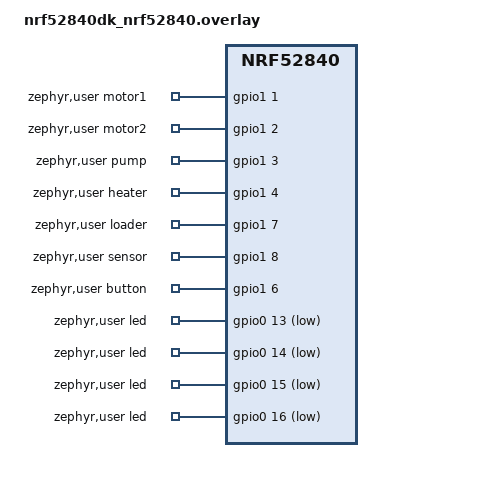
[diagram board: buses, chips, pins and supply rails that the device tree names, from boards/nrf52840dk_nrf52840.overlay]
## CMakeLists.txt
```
#
# SPDX-License-Identifier: Apache-2.0
#
cmake_minimum_required(VERSION 3.20.0)

find_package(Zephyr REQUIRED HINTS $ENV{ZEPHYR_BASE})
project(fuel_mixer)

target_sources(app PRIVATE
  src/main.c
  src/parameters.c
  src/app_params.c
  src/param_service.c
  src/io.c
  src/logic.c
)

# Parameter description JSON: validated, minified and embedded into the firmware.
set(gen_dir ${ZEPHYR_BINARY_DIR}/include/generated)
set(params_desc_src ${CMAKE_CURRENT_SOURCE_DIR}/src/params_desc.json)
set(params_desc_min ${gen_dir}/params_desc.min.json)
set(params_desc_hdr ${gen_dir}/params_desc_gen.h)

add_custom_command(
  OUTPUT ${params_desc_min} ${params_desc_hdr}
  COMMAND ${PYTHON_EXECUTABLE} ${CMAKE_CURRENT_SOURCE_DIR}/scripts/gen_params_desc.py
          --input ${params_desc_src}
          --output-json ${params_desc_min}
          --output-header ${params_desc_hdr}
  DEPENDS ${params_desc_src} ${CMAKE_CURRENT_SOURCE_DIR}/scripts/gen_params_desc.py
  COMMENT "Generating parameter description"
)
add_custom_target(params_desc_gen DEPENDS ${params_desc_min} ${params_desc_hdr})
add_dependencies(app params_desc_gen)

generate_inc_file_for_target(app ${params_desc_min} ${gen_dir}/params_desc.json.inc)
```

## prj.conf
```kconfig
#
# SPDX-License-Identifier: Apache-2.0
#

# Logging over UART (VCOM0 on PCA10056)
CONFIG_LOG=y
CONFIG_LOG_BACKEND_UART=y
CONFIG_LOG_DEFAULT_LEVEL=3
CONFIG_LOG_BUFFER_SIZE=4096
CONFIG_CONSOLE=y
CONFIG_UART_CONSOLE=y

# GPIO
CONFIG_GPIO=y

# Bluetooth LE peripheral
CONFIG_BT=y
CONFIG_BT_PERIPHERAL=y
CONFIG_BT_DEVICE_NAME="Fuel Mixer"
CONFIG_BT_MAX_CONN=1

# Persistent storage of parameters (settings on NVS)
CONFIG_FLASH=y
CONFIG_FLASH_MAP=y
CONFIG_NVS=y
CONFIG_SETTINGS=y
CONFIG_SETTINGS_NVS=y

# Stack sizes
CONFIG_MAIN_STACK_SIZE=2048
CONFIG_SYSTEM_WORKQUEUE_STACK_SIZE=2048
CONFIG_BT_RX_STACK_SIZE=2048

# Larger ATT MTU and LL data length, so description fragments fit into a single packet
CONFIG_BT_L2CAP_TX_MTU=247
CONFIG_BT_BUF_ACL_RX_SIZE=251
CONFIG_BT_BUF_ACL_TX_SIZE=251
CONFIG_BT_CTLR_DATA_LENGTH_MAX=251
```

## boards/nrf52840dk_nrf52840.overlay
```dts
/*
 * SPDX-License-Identifier: Apache-2.0
 *
 * Application GPIOs for nRF52840 DK (PCA10056).
 */

#include <zephyr/dt-bindings/gpio/gpio.h>

/ {
	zephyr,user {
		/* Outputs. */
		motor1-gpios = <&gpio1 1 GPIO_ACTIVE_HIGH>;
		motor2-gpios = <&gpio1 2 GPIO_ACTIVE_HIGH>;
		pump-gpios = <&gpio1 3 GPIO_ACTIVE_HIGH>;
		heater-gpios = <&gpio1 4 GPIO_ACTIVE_HIGH>;

		/* Inputs. */
		loader-gpios = <&gpio1 7 (GPIO_ACTIVE_HIGH | GPIO_PULL_UP)>;
		sensor-gpios = <&gpio1 8 (GPIO_ACTIVE_HIGH | GPIO_PULL_UP)>;
		button-gpios = <&gpio1 6 (GPIO_ACTIVE_HIGH | GPIO_PULL_UP)>;

		/* LED1..LED4 on P0.13..P0.16 (active low) mirror Motor 1, Motor 2, Pump, Heater. */
		led-gpios = <&gpio0 13 GPIO_ACTIVE_LOW>,
			    <&gpio0 14 GPIO_ACTIVE_LOW>,
			    <&gpio0 15 GPIO_ACTIVE_LOW>,
			    <&gpio0 16 GPIO_ACTIVE_LOW>;
	};
};
```

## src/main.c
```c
/*
 * SPDX-License-Identifier: Apache-2.0
 *
 * Fuel Mixer: BLE peripheral exposing a table of parameters over a custom GATT service.
 */

#include <zephyr/bluetooth/bluetooth.h>
#include <zephyr/bluetooth/conn.h>
#include <zephyr/bluetooth/hci.h>
#include <zephyr/kernel.h>
#include <zephyr/logging/log.h>

#include "io.h"
#include "logic.h"
#include "param_service.h"
#include "parameters.h"

LOG_MODULE_REGISTER(main, LOG_LEVEL_DBG);

#define WORKER_STACK_SIZE 1024
#define WORKER_PRIORITY   5

static void worker_thread(void *p1, void *p2, void *p3);

K_THREAD_DEFINE(worker_tid, WORKER_STACK_SIZE, worker_thread, NULL, NULL, NULL, WORKER_PRIORITY,
		0, SYS_FOREVER_MS);

#define DEVICE_NAME     CONFIG_BT_DEVICE_NAME
#define DEVICE_NAME_LEN (sizeof(DEVICE_NAME) - 1)

static const struct bt_data ad[] = {
	BT_DATA_BYTES(BT_DATA_FLAGS, (BT_LE_AD_GENERAL | BT_LE_AD_NO_BREDR)),
	BT_DATA(BT_DATA_NAME_COMPLETE, DEVICE_NAME, DEVICE_NAME_LEN),
};

static const struct bt_data sd[] = {
	BT_DATA_BYTES(BT_DATA_UUID128_ALL, BT_UUID_PARAM_SVC_VAL),
};

static void adv_work_handler(struct k_work *work)
{
	int err = bt_le_adv_start(BT_LE_ADV_CONN_FAST_2, ad, ARRAY_SIZE(ad), sd, ARRAY_SIZE(sd));

	if (err) {
		LOG_ERR("Advertising failed to start (%d)", err);
		return;
	}

	LOG_INF("Advertising started");
}

static K_WORK_DEFINE(adv_work, adv_work_handler);

static void connected(struct bt_conn *conn, uint8_t err)
{
	char addr[BT_ADDR_LE_STR_LEN];

	if (err) {
		LOG_WRN("Connection failed, err 0x%02x %s", err, bt_hci_err_to_str(err));
		return;
	}

	bt_addr_le_to_str(bt_conn_get_dst(conn), addr, sizeof(addr));
	LOG_INF("Connected: %s", addr);
}

static void disconnected(struct bt_conn *conn, uint8_t reason)
{
	LOG_INF("Disconnected, reason 0x%02x %s", reason, bt_hci_err_to_str(reason));
}

static void recycled(void)
{
	k_work_submit(&adv_work);
}

BT_CONN_CB_DEFINE(conn_callbacks) = {
	.connected = connected,
	.disconnected = disconnected,
	.recycled = recycled,
};

static void worker_thread(void *p1, void *p2, void *p3)
{
	ARG_UNUSED(p1);
	ARG_UNUSED(p2);
	ARG_UNUSED(p3);

	k_sleep(K_MSEC(1000));

	while (true) {
		procesuj(k_uptime_get());
		k_sleep(K_MSEC(TIME_TO_MS(1)));
	}
}

void logic_start(void)
{
	k_thread_start(worker_tid);
}

int main(void)
{
	int err;

	LOG_INF("Fuel Mixer application starting");

	err = io_init();
	if (err) {
		LOG_ERR("GPIO init failed (%d)", err);
		return err;
	}

	err = params_init();
	if (err) {
		LOG_ERR("Parameters init failed (%d)", err);
		return err;
	}

	logic_start();

	err = bt_enable(NULL);
	if (err) {
		LOG_ERR("Bluetooth init failed (%d)", err);
		return err;
	}

	LOG_INF("Bluetooth initialized");

	k_work_submit(&adv_work);

	return 0;
}
```

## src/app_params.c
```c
/*
 * SPDX-License-Identifier: Apache-2.0
 *
 * Application parameter table.
 */

#include <zephyr/kernel.h>

#include "app_params.h"
#include "logic.h"
#include "parameters.h"

/* Keep the "next read" index within the table (also for negative values). */
static void next_read_write_cb(struct parameter *param, int32_t old_value)
{
	const int32_t count = (int32_t)params_count;

	ARG_UNUSED(old_value);

	param->value = ((param->value % count) + count) % count;
}

struct parameter params_table[] = {
	[PARAM_NEXT_READ] = {
		.initial_value = 0,
		.persistent = false,
		.write_callback = next_read_write_cb,
	},
	[PARAM_STAN_ZBIORNIKA_1] = {
		.initial_value = 100,
		.persistent = true,
	},
	[PARAM_STAN_ZBIORNIKA_2] = {
		.initial_value = 100,
		.persistent = true,
	},
	[PARAM_MINIMALNY_CZAS_PRACY] = {
		.initial_value = 2 * 60,
		.persistent = true,
	},
	[PARAM_PROPORCJA_ROZPALKI] = {
		.initial_value = 100,
		.persistent = true,
	},
	[PARAM_PROPORCJA_PALIWA_1] = {
		.initial_value = 30,
		.persistent = true,
	},
	[PARAM_PROPORCJA_PALIWA_2] = {
		.initial_value = 70,
		.persistent = true,
	},
	[PARAM_PREDKOSC_OPROZNIANIA_ZBIORNIKA_1] = {
		.initial_value = 10,
		.persistent = true,
	},
	[PARAM_PREDKOSC_OPROZNIANIA_ZBIORNIKA_2] = {
		.initial_value = 10,
		.persistent = true,
	},
	[PARAM_CZAS_ROZPALANIA] = {
		.initial_value = 15,
		.persistent = true,
	},
	[PARAM_CZAS_WYKRYCIA_NASYPU_ROZPALKI] = {
		.initial_value = 15,
		.persistent = true,
	},
	[PARAM_CZAS_WYKRYCIA_WYGASZENIA] = {
		.initial_value = 5,
		.persistent = true,
	},
	[PARAM_MAKSYMALNY_CZAS_PRZEDLUZENIA_SYGNALU] = {
		.initial_value = 5,
		.persistent = true,
	},
	[PARAM_CZAS_PRACY_POMPY] = {
		.initial_value = 45,
		.persistent = true,
	},
	[PARAM_WYMUSZONA_PRACA] = {
		.initial_value = 0,
		.persistent = false,
		.write_callback = param_write_wymuszona_praca,
	},
	[PARAM_PODGLAD_STANU] = {
		.initial_value = 0,
		.persistent = false,
	},
};

BUILD_ASSERT(ARRAY_SIZE(params_table) == PARAM_COUNT);

const size_t params_count = ARRAY_SIZE(params_table);
```

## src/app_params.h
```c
/*
 * SPDX-License-Identifier: Apache-2.0
 */

#ifndef APP_PARAMS_H_
#define APP_PARAMS_H_

/*_Parameter_IDs_(indexes_in_params_table)._*/
enum app_param_id {

	/* Next read index */
	PARAM_NEXT_READ = 0,
	/* Stan zbiornika 1 */
	PARAM_STAN_ZBIORNIKA_1 = 1,
	/* Stan zbiornika 2 */
	PARAM_STAN_ZBIORNIKA_2 = 2,
	/* Minimalny czas pracy */
	PARAM_MINIMALNY_CZAS_PRACY = 3,
	/* Proporcja rozpałki (czystego paliwa 1) */
	PARAM_PROPORCJA_ROZPALKI = 4,
	/* Proporcja paliwa 1 */
	PARAM_PROPORCJA_PALIWA_1 = 5,
	/* Proporcja paliwa 2 */
	PARAM_PROPORCJA_PALIWA_2 = 6,
	/* Prędkość opróżniania zbiornika 1 */
	PARAM_PREDKOSC_OPROZNIANIA_ZBIORNIKA_1 = 7,
	/* Prędkość opróżniania zbiornika 2 */
	PARAM_PREDKOSC_OPROZNIANIA_ZBIORNIKA_2 = 8,
	/* Czas rozpalania (czystym paliwem 1) */
	PARAM_CZAS_ROZPALANIA = 9,
	/* Czas wykrycia nasypu rozpałki */
	PARAM_CZAS_WYKRYCIA_NASYPU_ROZPALKI = 10,
	/* Czas wykrycia wygaszenia */
	PARAM_CZAS_WYKRYCIA_WYGASZENIA = 11,
	/* Maksymalny czas przedłużenia sygnału */
	PARAM_MAKSYMALNY_CZAS_PRZEDLUZENIA_SYGNALU = 12,
	/* Czas pracy pompy */
	PARAM_CZAS_PRACY_POMPY = 13,
	/* Wymuszona praca */
	PARAM_WYMUSZONA_PRACA = 14,
	/* Podgląd stanu */
	PARAM_PODGLAD_STANU = 15,

	PARAM_COUNT
};

#endif /* APP_PARAMS_H_ */
```

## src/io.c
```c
/*
 * SPDX-License-Identifier: Apache-2.0
 */

#include <zephyr/drivers/gpio.h>
#include <zephyr/logging/log.h>
#include <zephyr/sys/atomic.h>

#include "io.h"

LOG_MODULE_REGISTER(io, LOG_LEVEL_DBG);

#define USER_NODE DT_PATH(zephyr_user)

struct io_pin {
	const char *name;
	enum io_input mask;
	struct gpio_dt_spec gpio;
	struct gpio_callback callback;
};

#define IO_PIN(_name, prop) {.name = _name, .gpio = GPIO_DT_SPEC_GET(USER_NODE, prop)}
#define IO_INPUT_PIN(_name, _mask, prop) \
	{.name = _name, .mask = _mask, .gpio = GPIO_DT_SPEC_GET(USER_NODE, prop)}

static const struct io_pin outputs[] = {
	[IO_MOTOR_1] = IO_PIN("Motor 1", motor1_gpios),
	[IO_MOTOR_2] = IO_PIN("Motor 2", motor2_gpios),
	[IO_PUMP] = IO_PIN("Pump", pump_gpios),
	[IO_HEATER] = IO_PIN("Heater", heater_gpios),
};

static struct io_pin inputs[] = {
	IO_INPUT_PIN("Loader", IO_LOADER, loader_gpios),
	IO_INPUT_PIN("Sensor", IO_SENSOR, sensor_gpios),
	IO_INPUT_PIN("Button", IO_BUTTON, button_gpios),
};

/* leds[i] mirrors outputs[i]. */
static const struct gpio_dt_spec leds[] = {
	DT_FOREACH_PROP_ELEM_SEP(USER_NODE, led_gpios, GPIO_DT_SPEC_GET_BY_IDX, (,))
};

BUILD_ASSERT(ARRAY_SIZE(outputs) == IO_OUTPUT_COUNT);
BUILD_ASSERT(ARRAY_SIZE(inputs) == IO_INPUT_COUNT);
BUILD_ASSERT(DT_PROP_LEN(USER_NODE, led_gpios) == IO_OUTPUT_COUNT);

static atomic_t output_state;
static atomic_t input_events;

static void input_gpio_callback(const struct device *port, struct gpio_callback *callback,
				gpio_port_pins_t pins)
{
	ARG_UNUSED(port);
	ARG_UNUSED(pins);

	for (size_t i = 0; i < IO_INPUT_COUNT; i++) {
		if (callback == &inputs[i].callback) {
			atomic_set_bit(&input_events, i);
			return;
		}
	}
}

static int configure(const struct gpio_dt_spec *spec, gpio_flags_t flags)
{
	int err;

	if (!gpio_is_ready_dt(spec)) {
		LOG_ERR("GPIO %s not ready", spec->port->name);
		return -ENODEV;
	}

	err = gpio_pin_configure_dt(spec, flags);
	if (err) {
		LOG_ERR("Failed to configure %s pin %u (%d)", spec->port->name, spec->pin, err);
	}

	return err;
}

int io_init(void)
{
	int err;

	for (size_t i = 0; i < IO_OUTPUT_COUNT; i++) {
		err = configure(&outputs[i].gpio, GPIO_OUTPUT_INACTIVE);
		if (err) {
			return err;
		}

		err = configure(&leds[i], GPIO_OUTPUT_INACTIVE);
		if (err) {
			return err;
		}
	}

	for (size_t i = 0; i < IO_INPUT_COUNT; i++) {
		err = configure(&inputs[i].gpio, GPIO_INPUT);
		if (err) {
			return err;
		}
	}

	for (size_t i = 0; i < IO_INPUT_COUNT; i++) {
		gpio_init_callback(&inputs[i].callback, input_gpio_callback,
				   BIT(inputs[i].gpio.pin));

		err = gpio_add_callback(inputs[i].gpio.port, &inputs[i].callback);
		if (err) {
			LOG_ERR("%s: failed to add GPIO callback (%d)", inputs[i].name, err);
			return err;
		}

		err = gpio_pin_interrupt_configure_dt(&inputs[i].gpio, GPIO_INT_EDGE_FALLING);
		if (err) {
			LOG_ERR("%s: failed to configure falling-edge interrupt (%d)",
				inputs[i].name, err);
			return err;
		}
	}

	return 0;
}

int io_set_output(enum io_output output, bool on)
{
	int err;

	if (output >= IO_OUTPUT_COUNT) {
		return -EINVAL;
	}

	err = gpio_pin_set_dt(&outputs[output].gpio, !on);
	if (err) {
		LOG_ERR("%s: set failed (%d)", outputs[output].name, err);
		return err;
	}

	(void)gpio_pin_set_dt(&leds[output], on);

	if (atomic_test_bit(&output_state, output) != on) {
		atomic_set_bit_to(&output_state, output, on);
		LOG_INF("%s: %s", outputs[output].name, on ? "ON" : "OFF");
	}

	return 0;
}

bool io_get_output(enum io_output output)
{
	return output < IO_OUTPUT_COUNT && atomic_test_bit(&output_state, output);
}

uint32_t io_sample_input(void)
{
	uint32_t active_inputs = 0;

	for (size_t i = 0; i < IO_INPUT_COUNT; i++) {
		bool falling_edge = atomic_test_and_clear_bit(&input_events, i);
		int level = gpio_pin_get_raw(inputs[i].gpio.port, inputs[i].gpio.pin);

		if (level < 0) {
			LOG_ERR("%s: failed to read GPIO (%d)", inputs[i].name, level);
			continue;
		}

		if (level == 0) {
			active_inputs |= inputs[i].mask;
			continue;
		}

		if (falling_edge) {
			active_inputs |= inputs[i].mask;
		}
	}

	return active_inputs;
}

const char *io_output_name(enum io_output output)
{
	return output < IO_OUTPUT_COUNT ? outputs[output].name : "?";
}

const char *io_input_name(enum io_input input)
{
	switch (input) {
	case IO_LOADER:
		return inputs[0].name;
	case IO_SENSOR:
		return inputs[1].name;
	case IO_BUTTON:
		return inputs[2].name;
	default:
		return "?";
	}
}
```

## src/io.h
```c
/*
 * SPDX-License-Identifier: Apache-2.0
 */

#ifndef IO_H_
#define IO_H_

#include <stdbool.h>
#include <stdint.h>

/* Outputs; each one is mirrored to an LED (LED1..LED4). */
enum io_output {
	IO_MOTOR_1, /* P1.01, LED1 */
	IO_MOTOR_2, /* P1.02, LED2 */
	IO_PUMP,    /* P1.03, LED3 */
	IO_HEATER,  /* P1.04, LED4 */

	IO_OUTPUT_COUNT
};

/* Active-low inputs (with pull-up); values are masks for io_sample_input(). */
enum io_input {
	IO_LOADER = 1U << 0, /* P1.07 */
	IO_SENSOR = 1U << 1, /* P1.08 */
	IO_BUTTON = 1U << 2, /* P1.06 */

	IO_INPUT_COUNT = 3
};

/* Configure output, input and LED GPIOs. All outputs start off. */
int io_init(void);

/* Switch the output (and its LED) on or off. Changes are logged. */
int io_set_output(enum io_output output, bool on);

/* Last state set by io_set_output(). */
bool io_get_output(enum io_output output);

/* Sample all inputs; a low level or falling edge since the last sample is active. */
uint32_t io_sample_input(void);

/* User-friendly names, e.g. "Motor 1"; "?" for an invalid ID. */
const char *io_output_name(enum io_output output);
const char *io_input_name(enum io_input input);

#endif /* IO_H_ */
```

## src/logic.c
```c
/*
 * SPDX-License-Identifier: Apache-2.0
 *
 * Application logic: worker thread and parameter callbacks.
 *
 * Available resources:
 *  - GPIO (io.h): io_set_output(IO_MOTOR_1/IO_MOTOR_2/IO_PUMP/IO_HEATER, on),
 *    io_sample_input(), io_get_output().
 *  - Parameters (parameters.h, app_params.h): params_get()/params_set() by PARAM_* ID.
 */

#include <zephyr/kernel.h>
#include <zephyr/logging/log.h>

#include "app_params.h"
#include "io.h"
#include "logic.h"
#include "parameters.h"

LOG_MODULE_REGISTER(logic, LOG_LEVEL_DBG);

/** @file logic.c
 *
 * Implementacja logiki sterowania podajnikami dwóch paliw na podstawie sygnału sterującego
 * podajnika pojedynczego.
 *
 * Sterownik wpięty jest za piecem, który obsługuje tylko jedno paliwo.
 * Piec podaje sygnał sterujący do jednego podajnika, a nasz sterownik rozdziela go
 * na dwa podajniki paliwa dając możliwość mieszania dwóch rodzajów paliwa.
 *
 * W początkowym etapie rozpalania pieca, tylko paliwo 1 jest podawane do pieca.
 * Może ono być podawane w innej proporcji niż to żąda piec ze względu na inną wydajność
 * podajnika paliwa 1 niż znamionowa wydajność, którą spodziewa się piec.
 * Następnie, podczas normalnej pracy, nasz sterownik reguluje proporcje podawania
 * paliwa 1 i 2 zgodnie z ustawionymi parametrami.
 *
 * Nasz sterownik odpowiada za optymalizację pracy pompy rozprowadzającej ciepło w instalacji.
 * Pompa ma zacząć pracować jak tylko zostanie wykryty sygnał wejściowy z podajnika.
 * Powinna wyłączyć się po określonym (w parametrze) czasie od ostatniej aktywności podajnika.
 */


#define STAN_INPUT_SENSOR (1 << 0)
#define STAN_INPUT_PODAJNIK (1 << 1)
#define STAN_INPUT_BUTTON (1 << 2)

#define STAN_OUTPUT_PODAJNIK_1 (1 << 3)
#define STAN_OUTPUT_PODAJNIK_2 (1 << 4)
#define STAN_OUTPUT_POMPA (1 << 5)
#define STAN_OUTPUT_NAGRZEWANIE (1 << 6)

#define STAN_POMPA_PODAJNIK (1 << 7)
#define STAN_POMPA_PRZEDLUZENIE (1 << 8)
#define STAN_POMPA_WYLACZONA (1 << 9)
#define STAN_POMPA (STAN_POMPA_PODAJNIK | STAN_POMPA_PRZEDLUZENIE | STAN_POMPA_WYLACZONA)

#define STAN_PODAJNIK_OCZEKIWANIE (1 << 10)
#define STAN_PODAJNIK_NASYP_ROZPALKI (1 << 11)
#define STAN_PODAJNIK_ROZPALANIE_TRWA (1 << 12)
#define STAN_PODAJNIK_PRACA_TRWA (1 << 13)
#define STAN_PODAJNIK (STAN_PODAJNIK_OCZEKIWANIE | STAN_PODAJNIK_NASYP_ROZPALKI | STAN_PODAJNIK_ROZPALANIE_TRWA | STAN_PODAJNIK_PRACA_TRWA)

#define STAN_DAWKOMIERZ_1_OCZEKIWANIE (1 << 14)
#define STAN_DAWKOMIERZ_1_PRZEKAZANIE_W_CALOSCI (1 << 15)
#define STAN_DAWKOMIERZ_1_POSZERZENIE_SYGNALU (1 << 16)
#define STAN_DAWKOMIERZ_1_PRZEKAZANIE_W_CZESCI (1 << 17)
#define STAN_DAWKOMIERZ_1_BLOKOWANIE_SYGNALU (1 << 18)
#define STAN_DAWKOMIERZ_1 (STAN_DAWKOMIERZ_1_OCZEKIWANIE | STAN_DAWKOMIERZ_1_PRZEKAZANIE_W_CALOSCI | STAN_DAWKOMIERZ_1_POSZERZENIE_SYGNALU | STAN_DAWKOMIERZ_1_PRZEKAZANIE_W_CZESCI | STAN_DAWKOMIERZ_1_BLOKOWANIE_SYGNALU)

#define STAN_DAWKOMIERZ_2_OCZEKIWANIE (1 << 19)
#define STAN_DAWKOMIERZ_2_PRZEKAZANIE_W_CALOSCI (1 << 20)
#define STAN_DAWKOMIERZ_2_POSZERZENIE_SYGNALU (1 << 21)
#define STAN_DAWKOMIERZ_2_PRZEKAZANIE_W_CZESCI (1 << 22)
#define STAN_DAWKOMIERZ_2_BLOKOWANIE_SYGNALU (1 << 23)
#define STAN_DAWKOMIERZ_2 (STAN_DAWKOMIERZ_2_OCZEKIWANIE | STAN_DAWKOMIERZ_2_PRZEKAZANIE_W_CALOSCI | STAN_DAWKOMIERZ_2_POSZERZENIE_SYGNALU | STAN_DAWKOMIERZ_2_PRZEKAZANIE_W_CZESCI | STAN_DAWKOMIERZ_2_BLOKOWANIE_SYGNALU)


static int podglad_stanu = 0;
static int now = 0;
static int param_minimalny_czas_pracy;
static int param_proporcja_rozpalki;
static int param_proporcja_paliwa_1;
static int param_proporcja_paliwa_2;
static int param_predkosc_oprozniania_zbiornika_1;
static int param_predkosc_oprozniania_zbiornika_2;
static int param_czas_rozpalania;
static int param_czas_wykrycia_nasypu_rozpalki;
static int param_czas_wykrycia_wygaszenia;
static int param_maksymalny_czas_przedluzenia_sygnalu;
static int param_czas_pracy_pompy;
static bool input_sensor;
static bool input_podajnik;
static bool input_button;
static bool output_podajnik_1;
static bool output_podajnik_2;
static bool output_pompa;
static bool output_nagrzewanie;

//--------------------------------------------------------------
#pragma region Start Procesowania


static void stan_grupy(int grupa, int stan_mask)
{
	podglad_stanu = (podglad_stanu & ~(grupa)) | (stan_mask);
}


static void stan_grupy_offset(int offset, int grupa, int stan_mask)
{
	grupa *= offset;
	stan_mask *= offset;
	podglad_stanu = (podglad_stanu & ~(grupa)) | (stan_mask);
}


static void stan(int stan_mask, bool on)
{
	if (on) {
		podglad_stanu |= stan_mask;
	} else {
		podglad_stanu &= ~stan_mask;
	}
}


static void start_procesowania(int64_t aktualny_czas_ms)
{
	uint32_t inputs_mask = io_sample_input();

	now = (int32_t)TIME_FROM_MS(aktualny_czas_ms);
	param_minimalny_czas_pracy = TIME_FROM_MIN(params_get(PARAM_MINIMALNY_CZAS_PRACY));
	param_proporcja_rozpalki = params_get(PARAM_PROPORCJA_ROZPALKI);
	param_proporcja_paliwa_1 = params_get(PARAM_PROPORCJA_PALIWA_1);
	param_proporcja_paliwa_2 = params_get(PARAM_PROPORCJA_PALIWA_2);
	param_predkosc_oprozniania_zbiornika_1 = params_get(PARAM_PREDKOSC_OPROZNIANIA_ZBIORNIKA_1);
	param_predkosc_oprozniania_zbiornika_2 = params_get(PARAM_PREDKOSC_OPROZNIANIA_ZBIORNIKA_2);
	param_czas_rozpalania = TIME_FROM_MIN(params_get(PARAM_CZAS_ROZPALANIA));
	param_czas_wykrycia_nasypu_rozpalki = TIME_FROM_SEC(params_get(PARAM_CZAS_WYKRYCIA_NASYPU_ROZPALKI));
	param_czas_wykrycia_wygaszenia = TIME_FROM_MIN(params_get(PARAM_CZAS_WYKRYCIA_WYGASZENIA));
	param_maksymalny_czas_przedluzenia_sygnalu = TIME_FROM_SEC(params_get(PARAM_MAKSYMALNY_CZAS_PRZEDLUZENIA_SYGNALU));
	param_czas_pracy_pompy = TIME_FROM_MIN(params_get(PARAM_CZAS_PRACY_POMPY));
	input_sensor = (inputs_mask & IO_SENSOR) != 0;
	input_podajnik = (inputs_mask & IO_LOADER) != 0;
	input_button = (inputs_mask & IO_BUTTON) != 0;
	stan(STAN_INPUT_SENSOR, input_sensor);
	stan(STAN_INPUT_PODAJNIK, input_podajnik);
	stan(STAN_INPUT_BUTTON, input_button);
}


static void output(enum io_output id, bool on)
{
	switch (id) {
		case IO_MOTOR_1:
			output_podajnik_1 = on;
			stan(STAN_OUTPUT_PODAJNIK_1, on);
			break;
		case IO_MOTOR_2:
			output_podajnik_2 = on;
			stan(STAN_OUTPUT_PODAJNIK_2, on);
			break;
		case IO_PUMP:
			output_pompa = on;
			stan(STAN_OUTPUT_POMPA, on);
			break;
		case IO_HEATER:
			output_nagrzewanie = on;
			stan(STAN_OUTPUT_NAGRZEWANIE, on);
			break;
		default:
			break;
	}
}


#pragma endregion
//--------------------------------------------------------------


//--------------------------------------------------------------
#pragma region Stan zbiornikow


static void aktualizuj_stan_zbiornika(int predkosc_oprozniania, bool podajnik_aktywny,
				      int64_t czas_pracy_ms, int64_t *skumulowany_czas_ms,
				      uint8_t parametr_stanu)
{
	int64_t ms_na_procent;
	int err;

	if (!podajnik_aktywny || predkosc_oprozniania <= 0) {
		return;
	}

	ms_na_procent = 3600000LL / predkosc_oprozniania;
	if (ms_na_procent == 0) {
		ms_na_procent = 1;
	}

	*skumulowany_czas_ms += czas_pracy_ms;
	if (*skumulowany_czas_ms < ms_na_procent) {
		return;
	}

	int stan_zbiornika = params_get(parametr_stanu);

	err = params_write(parametr_stanu, stan_zbiornika - 1);
	if (err) {
		LOG_ERR("Nie udało się zapisać stanu zbiornika (parametr %u, %d)",
			parametr_stanu, err);
		return;
	}

	*skumulowany_czas_ms -= ms_na_procent;
}


static void procesuj_stan_zbiornikow(int64_t aktualny_czas_ms)
{
	static bool zainicjalizowano_czas;
	static int64_t poprzedni_czas_ms;
	static int64_t skumulowany_czas_zbiornika_1_ms;
	static int64_t skumulowany_czas_zbiornika_2_ms;
	int64_t czas_pracy_ms = 0;

	if (zainicjalizowano_czas) {
		czas_pracy_ms = aktualny_czas_ms - poprzedni_czas_ms;
		if (czas_pracy_ms < 0) {
			czas_pracy_ms = 0;
		}
	} else {
		zainicjalizowano_czas = true;
	}
	poprzedni_czas_ms = aktualny_czas_ms;

	aktualizuj_stan_zbiornika(param_predkosc_oprozniania_zbiornika_1,
				  output_podajnik_1, czas_pracy_ms,
				  &skumulowany_czas_zbiornika_1_ms, PARAM_STAN_ZBIORNIKA_1);
	aktualizuj_stan_zbiornika(param_predkosc_oprozniania_zbiornika_2,
				  output_podajnik_2, czas_pracy_ms,
				  &skumulowany_czas_zbiornika_2_ms, PARAM_STAN_ZBIORNIKA_2);
}


#pragma endregion
//--------------------------------------------------------------


//--------------------------------------------------------------
#pragma region Sensor


static int poczatek_aktywnosci_sensora = -TIME_FROM_HOUR(24);


static void procesuj_sensor(bool wymuszenie_startu)
{
	static bool poprzedni_stan = false;
	static bool sensor_aktywny = false;

	if (!sensor_aktywny && ((input_sensor && !poprzedni_stan) || wymuszenie_startu)) {
		poczatek_aktywnosci_sensora = now;
	}
	poprzedni_stan = input_sensor;
	bool val = input_sensor || TIME_SINCE(poczatek_aktywnosci_sensora) < param_minimalny_czas_pracy;
	if (val != sensor_aktywny) {
		LOG_INF("Wyjście sensora %s", val ? "aktywne" : "nieaktywne");
	}
	sensor_aktywny = val;
	output(IO_HEATER, sensor_aktywny);
}


void param_write_wymuszona_praca(struct parameter *param, int32_t old_value)
{
	(void)(old_value);
	int x = now - param_minimalny_czas_pracy + TIME_FROM_HOUR(param->value);
	param->value = 0;
	int key = irq_lock();
	poczatek_aktywnosci_sensora = x;
	irq_unlock(key);
}


#pragma endregion
//--------------------------------------------------------------


//--------------------------------------------------------------
#pragma region Dawkomierz


struct Dawkomierz {
	void* stan;
	int poprzedni_okres;
	int czas_startu;
	int *procenty;
	int io_motor;
	int offset_grupy;
};


void dawkomierz_init(struct Dawkomierz *d, int *procenty, int io_motor, int poprzedni_okres, int offset_grupy)
{
	d->stan = NULL;
	d->poprzedni_okres = poprzedni_okres;
	d->czas_startu = -TIME_FROM_HOUR(24);
	d->procenty = procenty;
	d->io_motor = io_motor;
	d->offset_grupy = offset_grupy;
}

/** @brief Procesuje maszynę stanów dla jednego dawkomierza
 *
 * Na podstawie parametrów i sygnału wejściowego dawkuje odpowiednie proporcje
 * jednego rodzaju paliwa. Gdy więcej paliw jest mieszanych, wiele instancji
 * dawkomierza jest potrzebna.
 */
void dawkomierz_procesuj(struct Dawkomierz *d)
{
	int calkowity_czas;
	int procent = *(d->procenty);

	if (d->stan != NULL) {
		goto *d->stan;
	}

oczekiwanie: // Oczekiwanie na sygnał wejściowy

	stan_grupy_offset(d->offset_grupy, STAN_DAWKOMIERZ_1, STAN_DAWKOMIERZ_1_OCZEKIWANIE);
	output(d->io_motor, input_podajnik);

	// Jeżeli sygnał wejściowy jest aktywny, rozpoczynamy proces przekazywania sygnału do silnika
	// w całości lub części w zależności od procentu (częściowe przekazanie jest możliwe tylko jeśli
	// znamy czas poprzedniego okresu).
	if (input_podajnik) {
		d->czas_startu = now;
		if (procent >= 100 || d->poprzedni_okres == 0) {
			goto przekazanie_w_calosci;
		} else {
			goto przekazanie_w_czesci;
		}
	}

	d->stan = &&oczekiwanie;
	return;

przekazanie_w_calosci: // Przekazanie całego okresu do silnika

	stan_grupy_offset(d->offset_grupy, STAN_DAWKOMIERZ_1, STAN_DAWKOMIERZ_1_PRZEKAZANIE_W_CALOSCI);
	output(d->io_motor, true);

	// Jeżeli sygnał wejściowy przestał być aktywny, zapisujemy czas trwania okresu i przechodzimy do poszerzenia sygnału.
	if (!input_podajnik) {
		d->poprzedni_okres = TIME_SINCE(d->czas_startu);
		goto poszerzenie_sygnalu;
	}

	d->stan = &&przekazanie_w_calosci;
	return;

poszerzenie_sygnalu: // Poszerzenie sygnału wyjściowego o określony procent

	stan_grupy_offset(d->offset_grupy, STAN_DAWKOMIERZ_1, STAN_DAWKOMIERZ_1_POSZERZENIE_SYGNALU);
	output(d->io_motor, true);

	// Całkowity czas pracy silnika obliczony jest na podstawie okresu i zadanych procentów.
	calkowity_czas = (d->poprzedni_okres * procent + 50) / 100;
	if (calkowity_czas > d->poprzedni_okres + param_maksymalny_czas_przedluzenia_sygnalu) {
		calkowity_czas = d->poprzedni_okres + param_maksymalny_czas_przedluzenia_sygnalu;
	}

	// Jeżeli obliczy czas pracy silnika został osiągnięty, wracamy do oczekiwania.
	// Jeżeli sygnał wejściowy jest ponownie aktywny, też wracamy do oczekiwania, a stamtąd od razu
	// do kolejnego stanu.
	if (TIME_SINCE(d->czas_startu) > calkowity_czas || input_podajnik) {
		goto oczekiwanie;
	}

	d->stan = &&poszerzenie_sygnalu;
	return;

przekazanie_w_czesci: // Przekazanie początkowej części okresu sygnału do silnika

	stan_grupy_offset(d->offset_grupy, STAN_DAWKOMIERZ_1, STAN_DAWKOMIERZ_1_PRZEKAZANIE_W_CZESCI);
	output(d->io_motor, true);

	// Jeżeli sygnał przestał być aktywny za wcześnie, zapisujemy czas trwania okresu i wracamy do oczekiwania.
	if (!input_podajnik) {
		d->poprzedni_okres = TIME_SINCE(d->czas_startu);
		goto oczekiwanie;
	}

	// Całkowity czas pracy silnika obliczony jest na podstawie poprzedniego okresu i zadanych procentów.
	calkowity_czas = (d->poprzedni_okres * procent + 50) / 100;

	// Jak już osiągniemy obliczony czas i sygnał jest nadal aktywny, przechodzimy do jego blokowania.
	if (TIME_SINCE(d->czas_startu) > calkowity_czas) {
		goto blokowanie_sygnalu;
	}

	d->stan = &&przekazanie_w_czesci;
	return;

blokowanie_sygnalu: // Blokowanie sygnału wyjściowego do silnika po tym jak już część okresu została przekazana

	stan_grupy_offset(d->offset_grupy, STAN_DAWKOMIERZ_1, STAN_DAWKOMIERZ_1_BLOKOWANIE_SYGNALU);
	output(d->io_motor, false);

	// Jeżeli sygnał wejściowy przestał być aktywny, zapisujemy czas trwania okresu i wracamy do oczekiwania.
	if (!input_podajnik) {
		d->poprzedni_okres = TIME_SINCE(d->czas_startu);
		goto oczekiwanie;
	}

	// Obliczamy dopuszczalny czas blokady, który stanowi 3/2 poprzedniego okresu.
	calkowity_czas = (d->poprzedni_okres * 3 + 1) / 2;

	// Jeżeli zbyt długo blokujemy, przechodzimy do przekazania sygnału w całości.
	if (TIME_SINCE(d->czas_startu) > calkowity_czas) {
		goto przekazanie_w_calosci;
	}

	d->stan = &&blokowanie_sygnalu;
	return;
}


#pragma endregion
//--------------------------------------------------------------


//--------------------------------------------------------------
#pragma region Podajniki


/** @brief Główna maszyna stanów obsługująca podajnik i proces rozpalania.
 *
 * Słucha sygnału wejściowego z podajnika i wystawia sygnały sterujące dla podajników paliwa 1 i 2.
 *
 * Maszyna wykrywa nasyp rozpałki i wygaszenie podajnika i natychmiast przechodzi do odpowiedniego stanu.
 *
 * W stanie oczekiwania maszyna nic nie robi, czeka na aktywność podajnika.
 * W przypadku aktywności podajnika lub wykrycia nasypu rozpalki maszyna przechodzi do stanu nasyp_rozpalki,
 * gdzie przekazuje dalej sygnał do silnika paliwa 1. Po zakończeniu nasypu rozpałki maszyna przechodzi
 * do stanu rozpalania, gdzie następuje proces rozpalania pieca używając tylko paliwa 1 w ustalonym
 * parametrami stosunku do sygnału wejściowego. To trwa do momentu osiągnięcia odpowiedniego czasu rozpalania.
 * Następnie przechodzi do stanu normalnej pracy, gdzie paliwa 1 i 2 są mieszane
 * zgodnie z proporcjami ustawionymi w parametrach.
 */
static void procesuj_podajnik()
{
	static void *stan = NULL;
	static int czas_startu_rozpalania = -TIME_FROM_HOUR(24);
	static int czas_zmiany_stanu_podajnika = -TIME_FROM_HOUR(24);
	static bool podajnik_poprzednio_aktywny = false;
	static struct Dawkomierz dawkomierz_1;
	static struct Dawkomierz dawkomierz_2;

	// Wykrywanie zmiany stanu wejścia podajnika i czas ostatniej zmiany stanu
	if (podajnik_poprzednio_aktywny != input_podajnik) {
		czas_zmiany_stanu_podajnika = now;
		podajnik_poprzednio_aktywny = input_podajnik;
	}

	// Wykrywanie nasypu rozpalki: podajnik jest aktywny przez określony czas
	if (input_podajnik && TIME_SINCE(czas_zmiany_stanu_podajnika) > param_czas_wykrycia_nasypu_rozpalki) {
		if (stan != &&nasyp_rozpalki) {
			LOG_INF("Wykryto nasyp rozpalki");
		}
		goto nasyp_rozpalki;
	}

	// Wykrywanie wygaszenia pieca: podajnik nieaktywny przez określony czas
	if (!input_podajnik && TIME_SINCE(czas_zmiany_stanu_podajnika) > param_czas_wykrycia_wygaszenia) {
		if (stan != &&oczekiwanie) {
			LOG_INF("Wykryto wygaszenie podajnika");
		}
		goto oczekiwanie;
	}

	if (stan != NULL) {
		goto *stan;
	}

oczekiwanie: // Oczekiwanie na rozpoczęcie pracy

	stan_grupy(STAN_PODAJNIK, STAN_PODAJNIK_OCZEKIWANIE);
	stan_grupy(STAN_DAWKOMIERZ_1, 0);
	stan_grupy(STAN_DAWKOMIERZ_2, 0);
	output(IO_MOTOR_1, false);
	output(IO_MOTOR_2, false);

	if (input_podajnik) {
		procesuj_sensor(true);
		goto nasyp_rozpalki;
	}

	stan = &&oczekiwanie;
	return;

nasyp_rozpalki: // Nasypywanie rozpałki do czasu wyłączenia podajnika

	stan_grupy(STAN_PODAJNIK, STAN_PODAJNIK_NASYP_ROZPALKI);
	stan_grupy(STAN_DAWKOMIERZ_1, 0);
	stan_grupy(STAN_DAWKOMIERZ_2, 0);
	output(IO_MOTOR_1, true);
	output(IO_MOTOR_2, false);

	if (!input_podajnik) {
		LOG_INF("Rozpoczynam proces rozpalania");
		czas_startu_rozpalania = now;
		dawkomierz_init(&dawkomierz_1, &param_proporcja_rozpalki, IO_MOTOR_1, 0, 1);
		goto rozpalanie_trwa;
	}

	stan = &&nasyp_rozpalki;
	return;

rozpalanie_trwa: // Proces rozpalania trwa

	stan_grupy(STAN_PODAJNIK, STAN_PODAJNIK_ROZPALANIE_TRWA);
	stan_grupy(STAN_DAWKOMIERZ_2, 0);
	output(IO_MOTOR_2, false);

	dawkomierz_procesuj(&dawkomierz_1);

	if (!input_podajnik && TIME_SINCE(czas_startu_rozpalania) > param_czas_rozpalania) {
		LOG_INF("Rozpoczynam normalną pracę");
		output(IO_MOTOR_1, false);
		int poprzedni_okres = dawkomierz_1.poprzedni_okres;
		dawkomierz_init(&dawkomierz_1, &param_proporcja_paliwa_1, IO_MOTOR_1, poprzedni_okres, 1);
		dawkomierz_init(&dawkomierz_2, &param_proporcja_paliwa_2, IO_MOTOR_2, poprzedni_okres, STAN_DAWKOMIERZ_2 / STAN_DAWKOMIERZ_1);
		goto praca_trwa;
	}

	stan = &&rozpalanie_trwa;
	return;

praca_trwa: // Proces pracy trwa

	stan_grupy(STAN_PODAJNIK, STAN_PODAJNIK_PRACA_TRWA);
	dawkomierz_procesuj(&dawkomierz_1);
	dawkomierz_procesuj(&dawkomierz_2);

	stan = &&praca_trwa;
	return;
}


#pragma endregion
//--------------------------------------------------------------


//--------------------------------------------------------------
#pragma region Pompa


/** @brief Procesuje pracę pompy.
 *
 * Pompa działa jak wykryto aktywność podajnika i podtrzymuje działanie przez czas ustalony w parametrze.
 * Jeśli parametr ustawiony jest na zero, pompa działa cały czas.
 */
static void procesuj_pompe()
{
	static int ostatni_czas_aktywnosci = -TIME_FROM_HOUR(24);

	if (input_podajnik) {
		ostatni_czas_aktywnosci = now;
		output(IO_PUMP, true);
		stan_grupy(STAN_POMPA, STAN_POMPA_PODAJNIK);
	} else if (param_czas_pracy_pompy == 0 || TIME_SINCE(ostatni_czas_aktywnosci) < param_czas_pracy_pompy) {
		output(IO_PUMP, true);
		stan_grupy(STAN_POMPA, STAN_POMPA_PRZEDLUZENIE);
	} else {
		output(IO_PUMP, false);
		stan_grupy(STAN_POMPA, STAN_POMPA_WYLACZONA);
	}
}


#pragma endregion
//--------------------------------------------------------------


//--------------------------------------------------------------
#pragma region Przycisk


/** @brief Procesuje pracę przycisku.
 *
 * Przyciskiem można wymusić działanie podajnika 1 lub 2 (na przemian).
 */
static void procesuj_przycisk()
{
	static bool stan_poprzedni = false;
	static int numer_podajnika = 1;

	if (!stan_poprzedni && input_button) {
		if (numer_podajnika == 1) {
			numer_podajnika = 2;
		} else {
			numer_podajnika = 1;
		}
	} else if (stan_poprzedni && !input_button) {
		if (numer_podajnika == 1) {
			output(IO_MOTOR_1, false);
		} else {
			output(IO_MOTOR_2, false);
		}
	}

	if (input_button) {
		if (numer_podajnika == 1) {
			output(IO_MOTOR_1, true);
		} else {
			output(IO_MOTOR_2, true);
		}
	}

	stan_poprzedni = input_button;
}


#pragma endregion
//--------------------------------------------------------------


void procesuj(int64_t aktualny_czas_ms)
{
	static bool start = true;

	if (start) {
		LOG_INF("Rozpoczęto pracę sterownika");
		start = false;
		output(IO_MOTOR_1, false);
		output(IO_MOTOR_2, false);
		output(IO_PUMP, false);
		output(IO_HEATER, false);
	}

	start_procesowania(aktualny_czas_ms);
	procesuj_stan_zbiornikow(aktualny_czas_ms);
	procesuj_sensor(false);
	procesuj_podajnik();
	procesuj_pompe();
	procesuj_przycisk();
	io_set_output(IO_MOTOR_1, output_podajnik_1);
	io_set_output(IO_MOTOR_2, output_podajnik_2);
	io_set_output(IO_PUMP, output_pompa);
	io_set_output(IO_HEATER, output_nagrzewanie);
	params_set(PARAM_PODGLAD_STANU, podglad_stanu);
}
```

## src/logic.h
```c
/*
 * SPDX-License-Identifier: Apache-2.0
 *
 * Application logic: worker thread and parameter callbacks.
 */

#ifndef LOGIC_H_
#define LOGIC_H_

#include <stdint.h>

#include "parameters.h"

/* Time unit used by get_time(): 1/10 s (100 ms). */
#define TIME_FROM_HOUR(sec) ((int32_t)((sec) * 10 * 60 * 60))
#define TIME_FROM_MIN(sec)  ((int32_t)((sec) * 10 * 60))
#define TIME_FROM_SEC(sec)  ((int32_t)((sec) * 10))
#define TIME_FROM_MS(ms)    ((int64_t)(((int64_t)(ms) + 50) / 100))
#define TIME_TO_SEC(t)      ((int32_t)((t) / 10))
#define TIME_TO_MS(t)       ((int32_t)((t) * 100))
#define TIME_SINCE(t)       (now - (t))


/* Start the worker thread. Call after io_init() and params_init(). */
void logic_start(void);

/* Parameter callbacks used in params_table (app_params.c). */
void logic_inputs_read_cb(struct parameter *param);
void logic_uptime_read_cb(struct parameter *param);


void param_write_wymuszona_praca(struct parameter *param, int32_t old_value);
void procesuj(int64_t aktualny_czas_ms);

#endif /* LOGIC_H_ */
```

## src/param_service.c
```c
/*
 * SPDX-License-Identifier: Apache-2.0
 *
 * Custom GATT service for reading and writing the parameter table.
 *
 * The read characteristic returns a 5-byte packet: [ID][value as int32 little-endian].
 * The write characteristic accepts a 9-byte packet: [ID][value as int32 little-endian]
 * [validation value 0x113cfdf9 as uint32 little-endian].
 * - Write characteristic: sets parameter ID to the value if the validation value matches.
 * - Read characteristic: returns the parameter selected by parameter 0 and advances
 *   parameter 0 to the next ID (wrapping around after the last one).
 *
 * Description characteristic exposes the JSON description of all parameters (src/params_desc.json)
 * in fragments:
 * - Write: 2 bytes, uint16 little-endian byte offset of the next fragment (optional; the offset
 *   is reset to 0 on each new connection).
 * - Read: [total JSON length uint16 LE][fragment offset uint16 LE][up to DESC_CHUNK_SIZE bytes].
 *   Each read advances the offset by the fragment length, wrapping to 0 after the last fragment.
 */

#include <string.h>

#include <zephyr/bluetooth/conn.h>
#include <zephyr/bluetooth/gatt.h>
#include <zephyr/logging/log.h>
#include <zephyr/sys/byteorder.h>

#include "app_params.h"
#include "param_service.h"
#include "parameters.h"
#include "params_desc_gen.h"

LOG_MODULE_REGISTER(param_svc, LOG_LEVEL_DBG);

BUILD_ASSERT(PARAMS_DESC_COUNT == PARAM_COUNT,
	     "src/params_desc.json does not describe all parameters of params_table");

/* Minified JSON, generated at build time from src/params_desc.json (not NUL-terminated). */
static const uint8_t params_desc[] = {
#include "params_desc.json.inc"
};

#define DESC_HEADER_SIZE 4
#define DESC_CHUNK_SIZE  200
#define PARAM_WRITE_PACKET_SIZE 9
#define PARAM_WRITE_VALIDATION  0x113cfdf9U

static uint16_t desc_offset;
static uint8_t desc_packet[DESC_HEADER_SIZE + DESC_CHUNK_SIZE];
static uint16_t desc_packet_len;

/* Last packet returned to the client, reused for long reads (offset > 0). */
static uint8_t read_packet[PARAM_PACKET_SIZE];

static ssize_t param_read(struct bt_conn *conn, const struct bt_gatt_attr *attr, void *buf,
			  uint16_t len, uint16_t offset)
{
	if (offset == 0) {
		uint8_t id = (uint8_t)params_get(PARAM_NEXT_READ);
		int32_t value;

		if (params_read(id, &value)) {
			return BT_GATT_ERR(BT_ATT_ERR_UNLIKELY);
		}

		read_packet[0] = id;
		sys_put_le32((uint32_t)value, &read_packet[1]);

		params_set(PARAM_NEXT_READ, (id + 1) % params_count);
	}

	return bt_gatt_attr_read(conn, attr, buf, len, offset, read_packet, sizeof(read_packet));
}

static ssize_t param_write(struct bt_conn *conn, const struct bt_gatt_attr *attr, const void *buf,
			   uint16_t len, uint16_t offset, uint8_t flags)
{
	const uint8_t *data = buf;

	if (offset != 0) {
		return BT_GATT_ERR(BT_ATT_ERR_INVALID_OFFSET);
	}

	if (len != PARAM_WRITE_PACKET_SIZE) {
		LOG_WRN("Invalid write length %u", len);
		return BT_GATT_ERR(BT_ATT_ERR_INVALID_ATTRIBUTE_LEN);
	}

	if (sys_get_le32(&data[PARAM_PACKET_SIZE]) != PARAM_WRITE_VALIDATION) {
		LOG_WRN("Invalid write validation value");
		return BT_GATT_ERR(BT_ATT_ERR_VALUE_NOT_ALLOWED);
	}

	if (params_write(data[0], (int32_t)sys_get_le32(&data[1]))) {
		return BT_GATT_ERR(BT_ATT_ERR_VALUE_NOT_ALLOWED);
	}

	return len;
}

static ssize_t desc_read(struct bt_conn *conn, const struct bt_gatt_attr *attr, void *buf,
			 uint16_t len, uint16_t offset)
{
	/* Offset > 0 is a continuation (long read) of the packet prepared for offset 0. */
	if (offset == 0) {
		uint16_t chunk = MIN(sizeof(params_desc) - desc_offset, DESC_CHUNK_SIZE);

		sys_put_le16(sizeof(params_desc), &desc_packet[0]);
		sys_put_le16(desc_offset, &desc_packet[2]);
		memcpy(&desc_packet[DESC_HEADER_SIZE], &params_desc[desc_offset], chunk);
		desc_packet_len = DESC_HEADER_SIZE + chunk;

		LOG_DBG("Description fragment: offset %u, length %u of %u", desc_offset, chunk,
			(unsigned int)sizeof(params_desc));

		desc_offset += chunk;
		if (desc_offset >= sizeof(params_desc)) {
			desc_offset = 0;
		}
	}

	return bt_gatt_attr_read(conn, attr, buf, len, offset, desc_packet, desc_packet_len);
}

static ssize_t desc_write(struct bt_conn *conn, const struct bt_gatt_attr *attr, const void *buf,
			  uint16_t len, uint16_t offset, uint8_t flags)
{
	uint16_t new_offset;

	if (offset != 0) {
		return BT_GATT_ERR(BT_ATT_ERR_INVALID_OFFSET);
	}

	if (len != sizeof(uint16_t)) {
		LOG_WRN("Invalid description offset length %u", len);
		return BT_GATT_ERR(BT_ATT_ERR_INVALID_ATTRIBUTE_LEN);
	}

	new_offset = sys_get_le16(buf);
	if (new_offset >= sizeof(params_desc)) {
		LOG_WRN("Invalid description offset %u", new_offset);
		return BT_GATT_ERR(BT_ATT_ERR_VALUE_NOT_ALLOWED);
	}

	desc_offset = new_offset;

	return len;
}

static void connected(struct bt_conn *conn, uint8_t err)
{
	if (!err) {
		desc_offset = 0;
	}
}

BT_CONN_CB_DEFINE(param_svc_conn_callbacks) = {
	.connected = connected,
};

BT_GATT_SERVICE_DEFINE(param_svc,
	BT_GATT_PRIMARY_SERVICE(BT_UUID_PARAM_SVC),
	BT_GATT_CHARACTERISTIC(BT_UUID_PARAM_WRITE,
			       BT_GATT_CHRC_WRITE | BT_GATT_CHRC_WRITE_WITHOUT_RESP,
			       BT_GATT_PERM_WRITE, NULL, param_write, NULL),
	BT_GATT_CUD("Parameter write", BT_GATT_PERM_READ),
	BT_GATT_CHARACTERISTIC(BT_UUID_PARAM_READ, BT_GATT_CHRC_READ, BT_GATT_PERM_READ,
			       param_read, NULL, NULL),
	BT_GATT_CUD("Parameter read", BT_GATT_PERM_READ),
	BT_GATT_CHARACTERISTIC(BT_UUID_PARAM_DESC, BT_GATT_CHRC_READ | BT_GATT_CHRC_WRITE,
			       BT_GATT_PERM_READ | BT_GATT_PERM_WRITE, desc_read, desc_write, NULL),
	BT_GATT_CUD("Parameter description (JSON)", BT_GATT_PERM_READ),
);
```

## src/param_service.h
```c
/*
 * SPDX-License-Identifier: Apache-2.0
 */

#ifndef PARAM_SERVICE_H_
#define PARAM_SERVICE_H_

#include <zephyr/bluetooth/uuid.h>

/* Parameter service UUID: dbf0c631-883a-4d52-b455-4a9e5cd94bc3 */
#define BT_UUID_PARAM_SVC_VAL \
	BT_UUID_128_ENCODE(0xdbf0c631, 0x883a, 0x4d52, 0xb455, 0x4a9e5cd94bc3)

/* Write characteristic UUID: dbf0c632-883a-4d52-b455-4a9e5cd94bc3 */
#define BT_UUID_PARAM_WRITE_VAL                                                                    \
	BT_UUID_128_ENCODE(0xdbf0c632, 0x883a, 0x4d52, 0xb455, 0x4a9e5cd94bc3)

/* Read characteristic UUID: dbf0c633-883a-4d52-b455-4a9e5cd94bc3 */
#define BT_UUID_PARAM_READ_VAL                                                                     \
	BT_UUID_128_ENCODE(0xdbf0c633, 0x883a, 0x4d52, 0xb455, 0x4a9e5cd94bc3)

/* Description characteristic UUID: dbf0c634-883a-4d52-b455-4a9e5cd94bc3 */
#define BT_UUID_PARAM_DESC_VAL                                                                     \
	BT_UUID_128_ENCODE(0xdbf0c634, 0x883a, 0x4d52, 0xb455, 0x4a9e5cd94bc3)

#define BT_UUID_PARAM_SVC   BT_UUID_DECLARE_128(BT_UUID_PARAM_SVC_VAL)
#define BT_UUID_PARAM_WRITE BT_UUID_DECLARE_128(BT_UUID_PARAM_WRITE_VAL)
#define BT_UUID_PARAM_READ  BT_UUID_DECLARE_128(BT_UUID_PARAM_READ_VAL)
#define BT_UUID_PARAM_DESC  BT_UUID_DECLARE_128(BT_UUID_PARAM_DESC_VAL)

#endif /* PARAM_SERVICE_H_ */
```

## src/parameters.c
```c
/*
 * SPDX-License-Identifier: Apache-2.0
 */

#include <errno.h>
#include <stdio.h>
#include <stdlib.h>

#include <zephyr/kernel.h>
#include <zephyr/logging/log.h>
#include <zephyr/settings/settings.h>
#include <zephyr/sys/atomic.h>

#include "parameters.h"

LOG_MODULE_REGISTER(params, LOG_LEVEL_DBG);

#define PARAMS_SETTINGS_ROOT "params"
#define PARAMS_MAX_COUNT     256

/* Recursive mutex, so callbacks may safely call params_get(). */
static K_MUTEX_DEFINE(params_lock);

static ATOMIC_DEFINE(params_dirty, PARAMS_MAX_COUNT);

static void params_save_work_handler(struct k_work *work);
static K_WORK_DEFINE(params_save_work, params_save_work_handler);

static int params_settings_set(const char *key, size_t len, settings_read_cb read_cb, void *cb_arg)
{
	const char *next;
	char *end;
	unsigned long id;
	int32_t value;
	ssize_t rc;

	if (settings_name_next(key, &next) == 0 || next != NULL) {
		return -ENOENT;
	}

	id = strtoul(key, &end, 10);
	if (end == key || id >= params_count) {
		LOG_WRN("Ignoring unknown stored parameter \"%s\"", key);
		return 0;
	}

	if (!params_table[id].persistent) {
		LOG_WRN("Ignoring stored value of non-persistent parameter %lu", id);
		return 0;
	}

	if (len != sizeof(value)) {
		LOG_WRN("Invalid stored size %zu of parameter %lu", len, id);
		return 0;
	}

	rc = read_cb(cb_arg, &value, sizeof(value));
	if (rc != sizeof(value)) {
		LOG_ERR("Failed to read stored parameter %lu (%d)", id, (int)rc);
		return rc < 0 ? (int)rc : -EIO;
	}

	params_table[id].value = value;
	LOG_DBG("Loaded parameter %lu = %d", id, value);

	return 0;
}

SETTINGS_STATIC_HANDLER_DEFINE(params, PARAMS_SETTINGS_ROOT, NULL, params_settings_set, NULL,
			       NULL);

static void params_save_work_handler(struct k_work *work)
{
	ARG_UNUSED(work);

	for (size_t id = 0; id < params_count; id++) {
		char key[sizeof(PARAMS_SETTINGS_ROOT "/") + 10];
		int32_t value;
		int err;

		if (!atomic_test_and_clear_bit(params_dirty, id)) {
			continue;
		}

		value = params_get(id);
		snprintf(key, sizeof(key), PARAMS_SETTINGS_ROOT "/%u", (unsigned int)id);

		err = settings_save_one(key, &value, sizeof(value));
		if (err) {
			LOG_ERR("Failed to save parameter %u (%d)", (unsigned int)id, err);
		} else {
			LOG_DBG("Saved parameter %u = %d", (unsigned int)id, value);
		}
	}
}

uint8_t params_id(const struct parameter *param)
{
	return (uint8_t)(param - params_table);
}

int32_t params_get(uint8_t id)
{
	int32_t value;

	if (id >= params_count) {
		return 0;
	}

	k_mutex_lock(&params_lock, K_FOREVER);
	value = params_table[id].value;
	k_mutex_unlock(&params_lock);

	return value;
}

void params_set(uint8_t id, int32_t value)
{
	if (id >= params_count) {
		return;
	}

	k_mutex_lock(&params_lock, K_FOREVER);
	params_table[id].value = value;
	k_mutex_unlock(&params_lock);
}

int params_read(uint8_t id, int32_t *value)
{
	struct parameter *param;
	int32_t before;

	if (id >= params_count) {
		LOG_WRN("Read of invalid parameter %u", id);
		return -EINVAL;
	}

	param = &params_table[id];

	k_mutex_lock(&params_lock, K_FOREVER);
	before = param->value;
	if (param->read_callback) {
		param->read_callback(param);
	}
	*value = param->value;
	k_mutex_unlock(&params_lock);

	LOG_INF("Read  param %u: before %d, after %d", id, before, *value);

	return 0;
}

int params_write(uint8_t id, int32_t value)
{
	struct parameter *param;
	int32_t old_value;
	int32_t new_value;

	if (id >= params_count) {
		LOG_WRN("Write of invalid parameter %u", id);
		return -EINVAL;
	}

	param = &params_table[id];

	k_mutex_lock(&params_lock, K_FOREVER);
	old_value = param->value;
	param->value = value;
	if (param->write_callback) {
		param->write_callback(param, old_value);
	}
	new_value = param->value;
	k_mutex_unlock(&params_lock);

	LOG_INF("Write param %u: before %d, after %d (requested %d)", id, old_value, new_value,
		value);

	if (param->persistent) {
		atomic_set_bit(params_dirty, id);
		k_work_submit(&params_save_work);
	}

	return 0;
}

void params_log_all(void)
{
	LOG_INF("Parameters (%u):", (unsigned int)params_count);

	for (size_t id = 0; id < params_count; id++) {
		int32_t value = params_get(id);

		LOG_INF("  [%2u] = %11d%s", (unsigned int)id, value,
			params_table[id].persistent ? " persistent" : "");
	}
}

int params_init(void)
{
	int err;

	__ASSERT(params_count <= PARAMS_MAX_COUNT, "Too many parameters");

	for (size_t id = 0; id < params_count; id++) {
		params_table[id].value = params_table[id].initial_value;
	}

	err = settings_subsys_init();
	if (err) {
		LOG_ERR("settings_subsys_init failed (%d)", err);
		return err;
	}

	err = settings_load_subtree(PARAMS_SETTINGS_ROOT);
	if (err) {
		LOG_ERR("Loading parameters failed (%d)", err);
		return err;
	}

	params_log_all();

	return 0;
}
```
